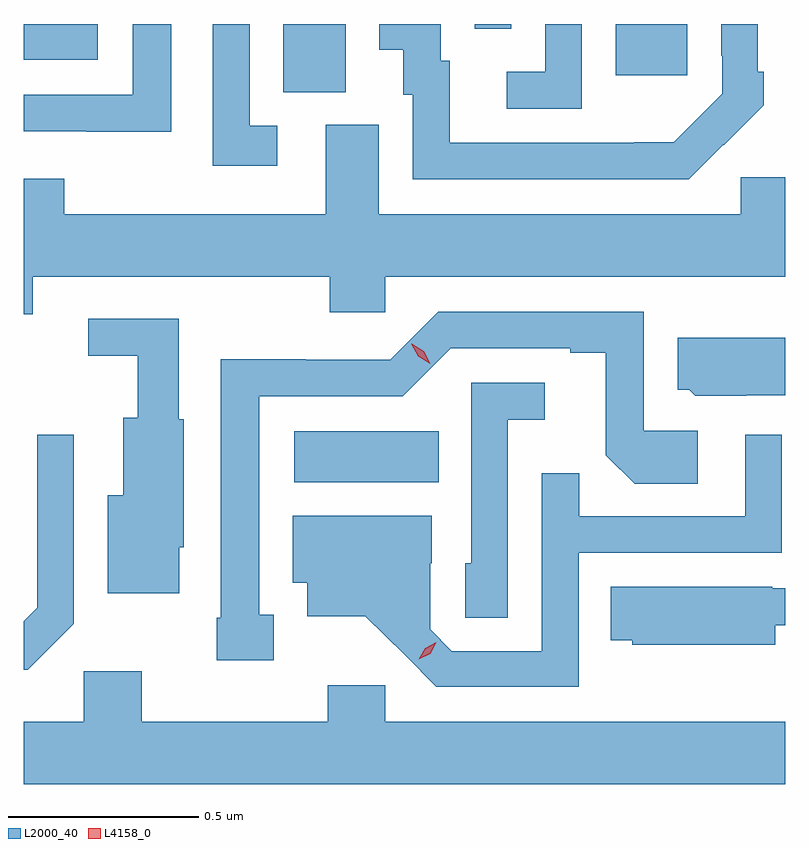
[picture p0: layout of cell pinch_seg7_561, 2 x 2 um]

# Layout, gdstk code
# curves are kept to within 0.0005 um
import gdstk
lib = gdstk.Library(unit=1e-6, precision=1e-09)
def R(c, l, rs):  # rectangles x0, y0, x1, y1
    for r in rs: c.add(gdstk.rectangle(r[:2], r[2:], *l))
def P(c, l, *ps):  # polygons
    for p in ps: c.add(gdstk.Polygon(p, *l))
L2000_40 = (2000, 40)
L4158_0 = (4158, 0)

pinch_seg7_561 = lib.new_cell('pinch_seg7_561')
R(pinch_seg7_561, L2000_40, [(172.008,1077.332,172.388,1077.466), (171.98,1078.357,172.144,1078.536), (172.853,1078.401,173.041,1078.536), (171.298,1078.442,171.493,1078.536), (172.482,1078.524,172.578,1078.536)])
P(pinch_seg7_561, L2000_40, [(173.135,1078.219),(173.136,1078.218),(173.241,1078.323),(173.241,1078.411),(173.226,1078.411),(173.226,1078.536),(173.13,1078.536),(173.13,1078.453),(173.133,1078.453),(173.133,1078.353),(173.005,1078.225),(172.901,1078.225),(172.901,1078.224),(172.417,1078.224),(172.417,1078.44),(172.393,1078.44),(172.393,1078.536),(172.232,1078.536),(172.232,1078.469),(172.295,1078.469),(172.295,1078.35),(172.32,1078.35),(172.32,1078.128),(173.044,1078.128)],
  [(172.764,1078.536),(172.668,1078.536),(172.668,1078.41),(172.566,1078.41),(172.566,1078.314),(172.764,1078.314)],
  [(171.685,1078.536),(171.584,1078.536),(171.584,1078.35),(171.298,1078.35),(171.298,1078.254),(171.462,1078.254),(171.462,1078.253),(171.685,1078.253)],
  [(171.964,1078.269),(171.891,1078.269),(171.891,1078.536),(171.795,1078.536),(171.795,1078.164),(171.964,1078.164)],
  [(171.322,1077.872),(172.102,1077.872),(172.102,1077.779),(172.248,1077.779),(172.248,1077.872),(173.298,1077.872),(173.298,1078.134),(173.181,1078.134),(173.181,1078.036),(172.231,1078.036),(172.231,1078.272),(172.091,1078.272),(172.091,1078.036),(171.404,1078.036),(171.404,1078.129),(171.298,1078.129),(171.298,1077.774),(171.322,1077.774)],
  [(171.955,1076.985),(171.916,1076.985),(171.916,1077.558),(172.293,1077.558),(172.419,1077.684),(172.733,1077.684),(172.733,1077.672),(172.827,1077.672),(172.827,1077.404),(172.903,1077.328),(173.068,1077.328),(173.068,1077.468),(172.926,1077.468),(172.926,1077.78),(172.386,1077.78),(172.26,1077.654),(172.038,1077.654),(172.038,1077.656),(171.815,1077.656),(171.815,1076.977),(171.805,1076.977),(171.805,1076.865),(171.955,1076.865)],
  [(171.706,1077.162),(171.718,1077.162),(171.718,1077.498),(171.705,1077.498),(171.705,1077.762),(171.468,1077.762),(171.468,1077.665),(171.597,1077.665),(171.597,1077.502),(171.56,1077.502),(171.56,1077.298),(171.518,1077.298),(171.518,1077.041),(171.706,1077.041)],
  [(173.196,1077.561),(173.298,1077.561),(173.298,1077.712),(173.015,1077.712),(173.015,1077.576),(173.046,1077.576),(173.062,1077.56),(173.196,1077.56)],
  [(172.569,1077.497),(172.666,1077.497),(172.666,1077.594),(172.473,1077.594),(172.473,1077.12),(172.458,1077.12),(172.458,1076.977),(172.569,1076.977)],
  [(172.755,1077.147),(173.289,1077.147),(173.289,1077.457),(173.193,1077.457),(173.193,1077.243),(172.757,1077.243),(172.757,1077.356),(172.659,1077.356),(172.659,1076.889),(172.422,1076.889),(172.365,1076.946),(172.365,1077.12),(172.369,1077.12),(172.369,1077.244),(172.004,1077.244),(172.004,1077.068),(172.043,1077.068),(172.043,1076.981),(172.195,1076.981),(172.382,1076.796),(172.755,1076.796)],
  [(171.429,1076.961),(171.429,1077.457),(171.333,1077.457),(171.333,1077.003),(171.298,1076.968),(171.298,1076.84),(171.308,1076.84)],
  [(173.272,1076.957),(173.298,1076.957),(173.298,1077.054),(173.264,1077.054),(173.264,1077.058),(172.84,1077.058),(172.84,1076.918),(172.896,1076.918),(172.896,1076.906),(173.272,1076.906)],
  [(173.298,1076.704),(172.248,1076.704),(172.248,1076.8),(172.097,1076.8),(172.097,1076.704),(171.608,1076.704),(171.608,1076.836),(171.456,1076.836),(171.456,1076.704),(171.298,1076.704),(171.298,1076.54),(173.298,1076.54)])
P(pinch_seg7_561, L4158_0, [(172.335,1076.867),(172.335,1076.867),(172.352,1076.897),(172.382,1076.912),(172.382,1076.912),(172.382,1076.912),(172.365,1076.882),(172.335,1076.867)],
  [(172.365,1077.644),(172.334,1077.663),(172.316,1077.696),(172.316,1077.696),(172.317,1077.696),(172.348,1077.677),(172.365,1077.644),(172.365,1077.644)])

lib.write_gds('pinch_seg7_561.gds')
